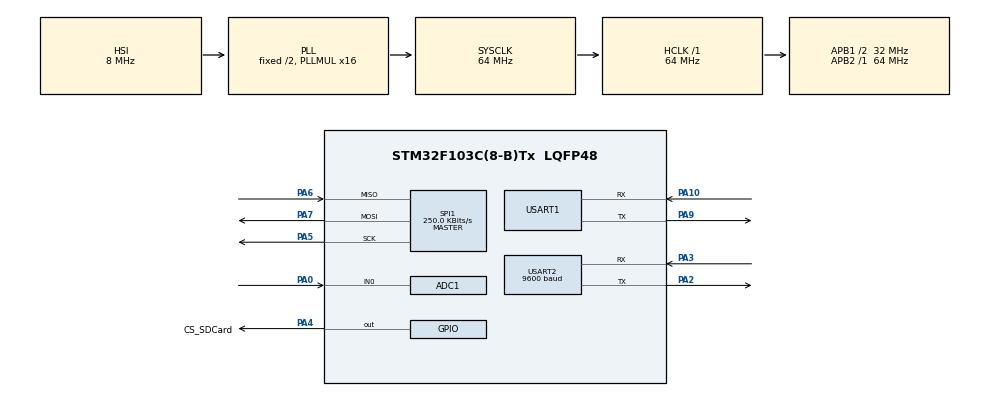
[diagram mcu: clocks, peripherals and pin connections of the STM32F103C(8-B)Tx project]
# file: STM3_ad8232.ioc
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ADC1.Channel-2\#ChannelRegularConversion=ADC_CHANNEL_0
ADC1.ExternalTrigConv=ADC_EXTERNALTRIGCONV_T3_TRGO
ADC1.NbrOfConversion=1
ADC1.NbrOfConversionFlag=1
ADC1.Rank-2\#ChannelRegularConversion=1
ADC1.SamplingTime-2\#ChannelRegularConversion=ADC_SAMPLETIME_239CYCLES_5
ADC1.master=1
Dma.ADC1.0.Direction=DMA_PERIPH_TO_MEMORY
Dma.ADC1.0.Instance=DMA1_Channel1
Dma.ADC1.0.MemDataAlignment=DMA_MDATAALIGN_HALFWORD
Dma.ADC1.0.MemInc=DMA_MINC_ENABLE
Dma.ADC1.0.Mode=DMA_NORMAL
Dma.ADC1.0.PeriphDataAlignment=DMA_PDATAALIGN_HALFWORD
Dma.ADC1.0.PeriphInc=DMA_PINC_DISABLE
Dma.ADC1.0.Priority=DMA_PRIORITY_LOW
Dma.Request0=ADC1
Dma.Request1=SPI1_RX
Dma.Request2=SPI1_TX
Dma.SPI1_RX.1.Direction=DMA_PERIPH_TO_MEMORY
Dma.SPI1_RX.1.Instance=DMA1_Channel2
Dma.SPI1_RX.1.MemDataAlignment=DMA_MDATAALIGN_BYTE
Dma.SPI1_RX.1.MemInc=DMA_MINC_ENABLE
Dma.SPI1_RX.1.Mode=DMA_NORMAL
Dma.SPI1_RX.1.PeriphDataAlignment=DMA_PDATAALIGN_BYTE
Dma.SPI1_RX.1.PeriphInc=DMA_PINC_DISABLE
Dma.SPI1_RX.1.Priority=DMA_PRIORITY_LOW
Dma.SPI1_TX.2.Direction=DMA_MEMORY_TO_PERIPH
Dma.SPI1_TX.2.Instance=DMA1_Channel3
Dma.SPI1_TX.2.MemDataAlignment=DMA_MDATAALIGN_BYTE
Dma.SPI1_TX.2.MemInc=DMA_MINC_ENABLE
Dma.SPI1_TX.2.Mode=DMA_NORMAL
Dma.SPI1_TX.2.PeriphDataAlignment=DMA_PDATAALIGN_BYTE
Dma.SPI1_TX.2.PeriphInc=DMA_PINC_DISABLE
Dma.SPI1_TX.2.Priority=DMA_PRIORITY_LOW
FATFS._FS_REENTRANT=0
FREERTOS.Tasks01=defaultTask,24,512,StartDefaultTask,Default,NULL,Dynamic,NULL,NULL
FREERTOS.configMINIMAL_STACK_SIZE=512
Mcu.Family=STM32F1
Mcu.Name=STM32F103C(8-B)Tx
Mcu.Package=LQFP48
NVIC.DMA1_Channel1_IRQn=true\:5\:0\:false\:false\:true\:true\:false\:true\:true
NVIC.DMA1_Channel2_IRQn=true\:5\:0\:false\:false\:true\:true\:false\:true\:true
NVIC.DMA1_Channel3_IRQn=true\:5\:0\:false\:false\:true\:true\:false\:true\:true
NVIC.PriorityGroup=NVIC_PRIORITYGROUP_4
NVIC.SPI1_IRQn=true\:5\:0\:false\:false\:true\:true\:true\:true\:true
NVIC.USART2_IRQn=true\:5\:0\:false\:false\:true\:true\:true\:true\:true
PA0-WKUP.Signal=ADCx_IN0
PA10.Mode=Asynchronous
PA10.Signal=USART1_RX
PA13.Mode=Serial_Wire
PA13.Signal=SYS_JTMS-SWDIO
PA14.Mode=Serial_Wire
PA14.Signal=SYS_JTCK-SWCLK
PA2.Mode=Asynchronous
PA2.Signal=USART2_TX
PA3.Mode=Asynchronous
PA3.Signal=USART2_RX
PA4.GPIO_Label=CS_SDCard
PA4.GPIO_PuPd=GPIO_NOPULL
PA4.Signal=GPIO_Output
PA5.GPIO_Speed=GPIO_SPEED_FREQ_MEDIUM
PA5.Mode=Full_Duplex_Master
PA5.Signal=SPI1_SCK
PA6.GPIO_PuPd=GPIO_PULLUP
PA6.Mode=Full_Duplex_Master
PA6.Signal=SPI1_MISO
PA7.GPIO_Speed=GPIO_SPEED_FREQ_MEDIUM
PA7.Mode=Full_Duplex_Master
PA7.Signal=SPI1_MOSI
PA9.Mode=Asynchronous
PA9.Signal=USART1_TX
PD0-OSC_IN.Mode=HSE-External-Oscillator
PD0-OSC_IN.Signal=RCC_OSC_IN
PD1-OSC_OUT.Mode=HSE-External-Oscillator
PD1-OSC_OUT.Signal=RCC_OSC_OUT
ProjectManager.HeapSize=0x200
ProjectManager.StackSize=0x400
ProjectManager.TargetToolchain=STM32CubeIDE
RCC.ADCPresc=RCC_ADCPCLK2_DIV8
RCC.AHBFreq_Value=64000000
RCC.APB1CLKDivider=RCC_HCLK_DIV2
RCC.APB1Freq_Value=32000000
RCC.APB1TimFreq_Value=64000000
RCC.APB2Freq_Value=64000000
RCC.APB2TimFreq_Value=64000000
RCC.HCLKFreq_Value=64000000
RCC.PLLMUL=RCC_PLL_MUL16
RCC.SYSCLKFreq_VALUE=64000000
RCC.SYSCLKSource=RCC_SYSCLKSOURCE_PLLCLK
RCC.USBFreq_Value=64000000
SH.ADCx_IN0.0=ADC1_IN0,IN0
SPI1.BaudRatePrescaler=SPI_BAUDRATEPRESCALER_256
SPI1.CalculateBaudRate=250.0 KBits/s
SPI1.DataSize=SPI_DATASIZE_8BIT
SPI1.Direction=SPI_DIRECTION_2LINES
SPI1.Mode=SPI_MODE_MASTER
SPI1.VirtualType=VM_MASTER
TIM3.AutoReloadPreload=TIM_AUTORELOAD_PRELOAD_DISABLE
TIM3.ClockDivision=TIM_CLOCKDIVISION_DIV1
TIM3.Period=3555
TIM3.Prescaler=49
TIM3.TIM_MasterOutputTrigger=TIM_TRGO_UPDATE
USART1.VirtualMode=VM_ASYNC
USART2.BaudRate=9600
USART2.VirtualMode=VM_ASYNC
VP_FATFS_VS_Generic.Mode=User_defined
VP_FREERTOS_VS_CMSIS_V2.Mode=CMSIS_V2
VP_TIM3_VS_ClockSourceINT.Mode=Internal
board=custom

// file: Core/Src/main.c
/* USER CODE BEGIN Header */
/**
  ******************************************************************************
  * @file           : main.c
  * @brief          : Main program body
  ******************************************************************************
  * @attention
  *
  * Copyright (c) 2026 STMicroelectronics.
  * All rights reserved.
  *
  * This software is licensed under terms that can be found in the LICENSE file
  * in the root directory of this software component.
  * If no LICENSE file comes with this software, it is provided AS-IS.
  *
  ******************************************************************************
  */
/* USER CODE END Header */
#include "main.h"
#include "cmsis_os.h"
#include "fatfs.h"

/* USER CODE BEGIN Includes */
#include "stdbool.h"
#include "SDCard.h"
#include "JDY23.h"
/* USER CODE END Includes */

/* USER CODE BEGIN PTD */
#ifdef __GNUC__
  #define PUTCHAR_PROTOTYPE int __io_putchar(int ch)
#else
  #define PUTCHAR_PROTOTYPE int fputc(int ch, FILE *f)
#endif
/* USER CODE END PTD */

/* USER CODE BEGIN PD */
#define BUFFER_SIZE 360
/* USER CODE END PD */

/* USER CODE BEGIN PM */
uint16_t dma_buffer[2 * BUFFER_SIZE];
volatile bool bufferA_ready = false;
volatile bool bufferB_ready = false;
/* USER CODE END PM */

ADC_HandleTypeDef hadc1;
DMA_HandleTypeDef hdma_adc1;

SPI_HandleTypeDef hspi1;
DMA_HandleTypeDef hdma_spi1_rx;
DMA_HandleTypeDef hdma_spi1_tx;

TIM_HandleTypeDef htim3;

UART_HandleTypeDef huart1;
UART_HandleTypeDef huart2;

/* Definitions for defaultTask */
osThreadId_t defaultTaskHandle;
const osThreadAttr_t defaultTask_attributes = {
  .name = "defaultTask",
  .stack_size = 512 * 4,
  .priority = (osPriority_t) osPriorityNormal,
};
/* USER CODE BEGIN PV */

JDY23_HandleTypeDef hjdy;
uint8_t single_byte;
bool flag_send_data = false;
bool jdy23_is_sleeping = false;
/* USER CODE END PV */

void SystemClock_Config(void);
static void MX_GPIO_Init(void);
static void MX_DMA_Init(void);
static void MX_ADC1_Init(void);
static void MX_SPI1_Init(void);
static void MX_TIM3_Init(void);
static void MX_USART1_UART_Init(void);
static void MX_USART2_UART_Init(void);
void StartDefaultTask(void *argument);

/* USER CODE BEGIN PFP */
void HAL_UART_RxCpltCallback(UART_HandleTypeDef *huart);
/* USER CODE END PFP */

/* USER CODE BEGIN 0 */
PUTCHAR_PROTOTYPE{
	HAL_UART_Transmit(&huart1, (uint8_t *)&ch, 1, 0xFFFF);
	  return ch;
}

void ensure_sleep(void){
  if (!jdy23_is_sleeping){
      if(jdy23_sleep(&hjdy, JDY23_SLEEP_LIGHT) == JDY23_OK){
          printf("Be sleeped");
          jdy23_is_sleeping = true;
      }
  }
}
void ensure_wake(void){
    jdy23_is_sleeping = false;
}
// void clear_buffer(uint16_t *ecg_buffer){
//   for (int i = 0; i < 2*BUFFER_SIZE; i++){
//     ecg_buffer[i] = 0;
//   }
// }
// void HAL_ADC_ConvCpltCallback(ADC_HandleTypeDef *hadc)
// {
//     if (hadc->Instance == ADC1)
//     {
//         bufferB_ready = true;
//     }
// }
// void HAL_ADC_ConvHalfCpltCallback(ADC_HandleTypeDef *hadc)
// {
//     if (hadc->Instance == ADC1)
//     {
//         bufferA_ready = true;
//     }
// }

/* USER CODE END 0 */

int main(void)
{

  /* MCU Configuration--------------------------------------------------------*/

  /* Reset of all peripherals, Initializes the Flash interface and the Systick. */
  HAL_Init();

  /* Configure the system clock */
  SystemClock_Config();

  /* Initialize all configured peripherals */
  MX_GPIO_Init();
  MX_DMA_Init();
  MX_ADC1_Init();
  MX_SPI1_Init();
  MX_TIM3_Init();
  MX_USART1_UART_Init();
  MX_USART2_UART_Init();
  MX_FATFS_Init();

  /* Init scheduler */
  osKernelInitialize();

  /* Create the thread(s) */
  /* creation of defaultTask */
  defaultTaskHandle = osThreadNew(StartDefaultTask, NULL, &defaultTask_attributes);

  /* Start scheduler */
  osKernelStart();

  /* We should never get here as control is now taken by the scheduler */

  /* Infinite loop */
  while (1)
  {

    /* USER CODE BEGIN 3 */
    // if (jdy23_get_link_status(&hjdy, &status) == JDY23_OK && status == JDY23_LINK_CONNECTED) {
    //     printf("Device connected!\r\n");
    //     ensure_wake();
    //     if(flag_send_data){
    //       flag_send_data = false;
    //       jdy23_write(&hjdy, (uint8_t*)dma_buffer, BUFFER_SIZE* 4);
    //   }
    // }
    // else{
    //   ensure_sleep();
    //   HAL_Delay(5);
    //}
    // if (bufferA_ready)
    // {
    //   bufferA_ready = false;
    //   HAL_GPIO_WritePin(GPIOB, GPIO_PIN_4, GPIO_PIN_RESET);
    //   HAL_SPI_Transmit(&hspi1, (uint8_t*)&dma_buffer[0], BUFFER_SIZE * 2, HAL_MAX_DELAY);
    //   HAL_GPIO_WritePin(GPIOB, GPIO_PIN_4, GPIO_PIN_SET);
    // }

    // if (bufferB_ready)
    // {
    //   bufferB_ready = false;
    //   HAL_GPIO_WritePin(GPIOB, GPIO_PIN_4, GPIO_PIN_RESET);
    //   HAL_SPI_Transmit(&hspi1, (uint8_t*)&dma_buffer[BUFFER_SIZE], BUFFER_SIZE * 2, HAL_MAX_DELAY);
    //   HAL_GPIO_WritePin(GPIOB, GPIO_PIN_4, GPIO_PIN_SET);
    // }
  }
  /* USER CODE END 3 */
}

void SystemClock_Config(void)
{
  RCC_OscInitTypeDef RCC_OscInitStruct = {0};
  RCC_ClkInitTypeDef RCC_ClkInitStruct = {0};
  RCC_PeriphCLKInitTypeDef PeriphClkInit = {0};

  /** Initializes the RCC Oscillators according to the specified parameters
  * in the RCC_OscInitTypeDef structure.
  */
  RCC_OscInitStruct.OscillatorType = RCC_OSCILLATORTYPE_HSI;
  RCC_OscInitStruct.HSIState = RCC_HSI_ON;
  RCC_OscInitStruct.HSICalibrationValue = RCC_HSICALIBRATION_DEFAULT;
  RCC_OscInitStruct.PLL.PLLState = RCC_PLL_ON;
  RCC_OscInitStruct.PLL.PLLSource = RCC_PLLSOURCE_HSI_DIV2;
  RCC_OscInitStruct.PLL.PLLMUL = RCC_PLL_MUL16;
  if (HAL_RCC_OscConfig(&RCC_OscInitStruct) != HAL_OK)
  {
    Error_Handler();
  }

  /** Initializes the CPU, AHB and APB buses clocks
  */
  RCC_ClkInitStruct.ClockType = RCC_CLOCKTYPE_HCLK|RCC_CLOCKTYPE_SYSCLK
                              |RCC_CLOCKTYPE_PCLK1|RCC_CLOCKTYPE_PCLK2;
  RCC_ClkInitStruct.SYSCLKSource = RCC_SYSCLKSOURCE_PLLCLK;
  RCC_ClkInitStruct.AHBCLKDivider = RCC_SYSCLK_DIV1;
  RCC_ClkInitStruct.APB1CLKDivider = RCC_HCLK_DIV2;
  RCC_ClkInitStruct.APB2CLKDivider = RCC_HCLK_DIV1;

  if (HAL_RCC_ClockConfig(&RCC_ClkInitStruct, FLASH_LATENCY_2) != HAL_OK)
  {
    Error_Handler();
  }
  PeriphClkInit.PeriphClockSelection = RCC_PERIPHCLK_ADC;
  PeriphClkInit.AdcClockSelection = RCC_ADCPCLK2_DIV8;
  if (HAL_RCCEx_PeriphCLKConfig(&PeriphClkInit) != HAL_OK)
  {
    Error_Handler();
  }
}

static void MX_ADC1_Init(void)
{

  ADC_ChannelConfTypeDef sConfig = {0};

  /** Common config
  */
  hadc1.Instance = ADC1;
  hadc1.Init.ScanConvMode = ADC_SCAN_DISABLE;
  hadc1.Init.ContinuousConvMode = DISABLE;
  hadc1.Init.DiscontinuousConvMode = DISABLE;
  hadc1.Init.ExternalTrigConv = ADC_EXTERNALTRIGCONV_T3_TRGO;
  hadc1.Init.DataAlign = ADC_DATAALIGN_RIGHT;
  hadc1.Init.NbrOfConversion = 1;
  if (HAL_ADC_Init(&hadc1) != HAL_OK)
  {
    Error_Handler();
  }

  /** Configure Regular Channel
  */
  sConfig.Channel = ADC_CHANNEL_0;
  sConfig.Rank = ADC_REGULAR_RANK_1;
  sConfig.SamplingTime = ADC_SAMPLETIME_239CYCLES_5;
  if (HAL_ADC_ConfigChannel(&hadc1, &sConfig) != HAL_OK)
  {
    Error_Handler();
  }

}

static void MX_SPI1_Init(void)
{

  /* SPI1 parameter configuration*/
  hspi1.Instance = SPI1;
  hspi1.Init.Mode = SPI_MODE_MASTER;
  hspi1.Init.Direction = SPI_DIRECTION_2LINES;
  hspi1.Init.DataSize = SPI_DATASIZE_8BIT;
  hspi1.Init.CLKPolarity = SPI_POLARITY_LOW;
  hspi1.Init.CLKPhase = SPI_PHASE_1EDGE;
  hspi1.Init.NSS = SPI_NSS_SOFT;
  hspi1.Init.BaudRatePrescaler = SPI_BAUDRATEPRESCALER_256;
  hspi1.Init.FirstBit = SPI_FIRSTBIT_MSB;
  hspi1.Init.TIMode = SPI_TIMODE_DISABLE;
  hspi1.Init.CRCCalculation = SPI_CRCCALCULATION_DISABLE;
  hspi1.Init.CRCPolynomial = 10;
  if (HAL_SPI_Init(&hspi1) != HAL_OK)
  {
    Error_Handler();
  }

}

static void MX_TIM3_Init(void)
{

  TIM_ClockConfigTypeDef sClockSourceConfig = {0};
  TIM_MasterConfigTypeDef sMasterConfig = {0};

  htim3.Instance = TIM3;
  htim3.Init.Prescaler = 49;
  htim3.Init.CounterMode = TIM_COUNTERMODE_UP;
  htim3.Init.Period = 3555;
  htim3.Init.ClockDivision = TIM_CLOCKDIVISION_DIV1;
  htim3.Init.AutoReloadPreload = TIM_AUTORELOAD_PRELOAD_DISABLE;
  if (HAL_TIM_Base_Init(&htim3) != HAL_OK)
  {
    Error_Handler();
  }
  sClockSourceConfig.ClockSource = TIM_CLOCKSOURCE_INTERNAL;
  if (HAL_TIM_ConfigClockSource(&htim3, &sClockSourceConfig) != HAL_OK)
  {
    Error_Handler();
  }
  sMasterConfig.MasterOutputTrigger = TIM_TRGO_UPDATE;
  sMasterConfig.MasterSlaveMode = TIM_MASTERSLAVEMODE_DISABLE;
  if (HAL_TIMEx_MasterConfigSynchronization(&htim3, &sMasterConfig) != HAL_OK)
  {
    Error_Handler();
  }

}

static void MX_USART1_UART_Init(void)
{

  huart1.Instance = USART1;
  huart1.Init.BaudRate = 115200;
  huart1.Init.WordLength = UART_WORDLENGTH_8B;
  huart1.Init.StopBits = UART_STOPBITS_1;
  huart1.Init.Parity = UART_PARITY_NONE;
  huart1.Init.Mode = UART_MODE_TX_RX;
  huart1.Init.HwFlowCtl = UART_HWCONTROL_NONE;
  huart1.Init.OverSampling = UART_OVERSAMPLING_16;
  if (HAL_UART_Init(&huart1) != HAL_OK)
  {
    Error_Handler();
  }

}

static void MX_USART2_UART_Init(void)
{

  huart2.Instance = USART2;
  huart2.Init.BaudRate = 9600;
  huart2.Init.WordLength = UART_WORDLENGTH_8B;
  huart2.Init.StopBits = UART_STOPBITS_1;
  huart2.Init.Parity = UART_PARITY_NONE;
  huart2.Init.Mode = UART_MODE_TX_RX;
  huart2.Init.HwFlowCtl = UART_HWCONTROL_NONE;
  huart2.Init.OverSampling = UART_OVERSAMPLING_16;
  if (HAL_UART_Init(&huart2) != HAL_OK)
  {
    Error_Handler();
  }

}

static void MX_DMA_Init(void)
{

  /* DMA controller clock enable */
  __HAL_RCC_DMA1_CLK_ENABLE();

  /* DMA interrupt init */
  /* DMA1_Channel1_IRQn interrupt configuration */
  HAL_NVIC_SetPriority(DMA1_Channel1_IRQn, 5, 0);
  HAL_NVIC_EnableIRQ(DMA1_Channel1_IRQn);
  /* DMA1_Channel2_IRQn interrupt configuration */
  HAL_NVIC_SetPriority(DMA1_Channel2_IRQn, 5, 0);
  HAL_NVIC_EnableIRQ(DMA1_Channel2_IRQn);
  /* DMA1_Channel3_IRQn interrupt configuration */
  HAL_NVIC_SetPriority(DMA1_Channel3_IRQn, 5, 0);
  HAL_NVIC_EnableIRQ(DMA1_Channel3_IRQn);

}

static void MX_GPIO_Init(void)
{
  GPIO_InitTypeDef GPIO_InitStruct = {0};

  /* GPIO Ports Clock Enable */
  __HAL_RCC_GPIOD_CLK_ENABLE();
  __HAL_RCC_GPIOA_CLK_ENABLE();

  /*Configure GPIO pin Output Level */
  HAL_GPIO_WritePin(CS_SDCard_GPIO_Port, CS_SDCard_Pin, GPIO_PIN_RESET);

  /*Configure GPIO pin : CS_SDCard_Pin */
  GPIO_InitStruct.Pin = CS_SDCard_Pin;
  GPIO_InitStruct.Mode = GPIO_MODE_OUTPUT_PP;
  GPIO_InitStruct.Pull = GPIO_NOPULL;
  GPIO_InitStruct.Speed = GPIO_SPEED_FREQ_LOW;
  HAL_GPIO_Init(CS_SDCard_GPIO_Port, &GPIO_InitStruct);

}

/* USER CODE BEGIN 4 */
void HAL_UART_RxCpltCallback(UART_HandleTypeDef *huart)
{
    if (huart->Instance == USART2)
    {
        if (hjdy.rx_index < (JDY23_MAX_RESPONSE_LEN - 1U))
        {
            hjdy.massage_buffer[hjdy.rx_index++] = (char)single_byte;
            hjdy.massage_buffer[hjdy.rx_index] = '\0';
        }
        if (single_byte == '\n')
        {
            hjdy.response_complete = true;
            if (strstr(hjdy.massage_buffer, "S") != NULL) flag_send_data = true;
        }
        HAL_UART_Receive_IT(&huart2, &single_byte, 1);
    }
}
/* USER CODE END 4 */

void StartDefaultTask(void *argument)
{
  /* USER CODE BEGIN 5 */
  /* Infinite loop */
  printf("Started....\n");
  for (int i = 0; i < 2*BUFFER_SIZE; i++){
    dma_buffer[i] = 166;
  }
  /*
  * Test SD card read/write
  *
  */
  uint16_t read_buffer[2 * BUFFER_SIZE] = {0};
  sd_card_config_t cfg = {
    .sd_pins = {.hspi = &hspi1, .cs_port = GPIOA, .cs_pin = GPIO_PIN_4},
    .mount_point = USERPath /* Mount at root of first drive */
  };
  const char *test_filename = "test.bin";
  if (sd_card_init(&cfg) != SD_OK) {
      printf("SD card initialization failed!\n");
  }
  else {
      printf("SD card initialized successfully.\n");
  }
  // sd_card_write_file(test_filename, (const uint8_t*)dma_buffer, BUFFER_SIZE * 2);
  // sd_card_read_file(test_filename, (uint8_t*)read_buffer, BUFFER_SIZE * 2);
  // for (int i = 0; i < BUFFER_SIZE * 2; i++) {
  //     printf("%02X ", ((uint8_t*)read_buffer)[i]);
  // }
  // printf("\n");
  // printf("SD card test completed.\n");
  for(;;)
  {
    osDelay(1);
  }
  /* USER CODE END 5 */
}

void Error_Handler(void)
{
  __disable_irq();
  while (1)
  {
  }
}
